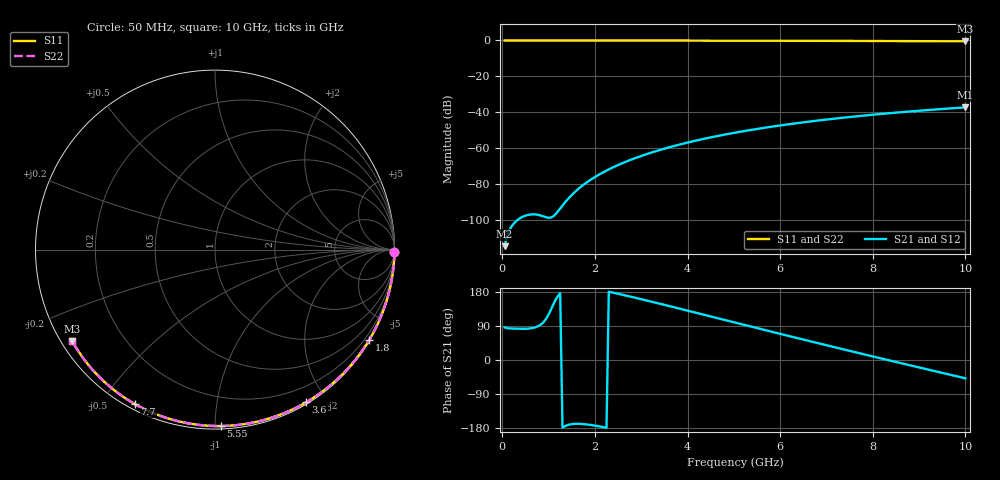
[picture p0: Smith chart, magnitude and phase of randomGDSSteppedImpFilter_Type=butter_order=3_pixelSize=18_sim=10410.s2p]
! freq	dB(S11)	phase(S11)	dB(S12)	phase(S12)
!  dB(S21)	phase(S21)	dB(S22)	phase(S22)
!S-par simulation data
#  GHz  S  DB  R 50
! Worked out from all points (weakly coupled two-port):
!   200 points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, 50 MHz to 10 GHz, reference 50 ohm
!   highest |S21| = -37.27 dB at 10 GHz (marker M1); lowest = -114.5 dB at 50 MHz (marker M2)
!   lowest |S11| = -0.5 dB at 10 GHz (marker M3), VSWR 35.33, Z = 1.54 - j14.7 ohm
!   |S11| at or under -10 dB: nowhere
!   |S22| runs from -0.5 to 0.0 dB; largest |S21 - S12| = 0
!   S11 on the Smith chart (normalised r, x): 50 MHz: open; 1.8 GHz: 0.03, -3.69; 3.6 GHz: 0.02, -1.76; 5.55 GHz: 0.02, -1.03; 7.7 GHz: 0.02, -0.61; 10 GHz: 0.03, -0.29
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0.05  -0.00 -0.9  -114.51 86.1  -114.51 86.1  -0.00 -0.9
0.45  -0.01 -7.7  -98.01 82.4  -98.01 82.4  -0.01 -7.7
0.9  -0.02 -15.3  -98.04 101.2  -98.04 101.2  -0.02 -15.3
1.3  -0.03 -22.0  -91.88 -178.4  -91.88 -178.4  -0.03 -22.0
1.75  -0.04 -29.5  -80.40 -169.1  -80.40 -169.1  -0.04 -29.5
1.8  -0.04 -30.3  -79.44 -169.7  -79.44 -169.7  -0.04 -30.3
1.95  -0.04 -32.8  -76.82 -172.1  -76.82 -172.1  -0.04 -32.8
2.1  -0.04 -35.3  -74.52 -175.2  -74.52 -175.2  -0.04 -35.3
2.3  -0.05 -38.5  -71.78 180.0  -71.78 180.0  -0.05 -38.5
2.5  -0.05 -41.8  -69.35 174.7  -69.35 174.7  -0.05 -41.8
2.9  -0.06 -48.2  -65.21 163.4  -65.21 163.4  -0.06 -48.2
3.4  -0.07 -56.1  -60.98 148.6  -60.98 148.6  -0.07 -56.0
3.6  -0.08 -59.2  -59.50 142.5  -59.50 142.5  -0.08 -59.1
4.3  -0.10 -69.8  -55.06 121.1  -55.06 121.1  -0.10 -69.8
5.05  -0.12 -80.9  -51.22 98.0  -51.22 98.0  -0.12 -80.8
5.55  -0.14 -88.0  -49.05 82.7  -49.05 82.7  -0.14 -88.0
6.1  -0.17 -95.8  -46.95 66.0  -46.95 66.0  -0.17 -95.7
6.7  -0.20 -104.0  -44.94 47.9  -44.94 47.9  -0.20 -104.0
7.7  -0.27 -117.4  -42.09 18.2  -42.09 18.2  -0.27 -117.3
8.35  -0.32 -125.9  -40.51 -0.8  -40.51 -0.8  -0.32 -125.8
9.2  -0.40 -136.9  -38.72 -25.4  -38.72 -25.4  -0.40 -136.8
10  -0.49 -147.2  -37.27 -48.3  -37.27 -48.3  -0.49 -147.2
